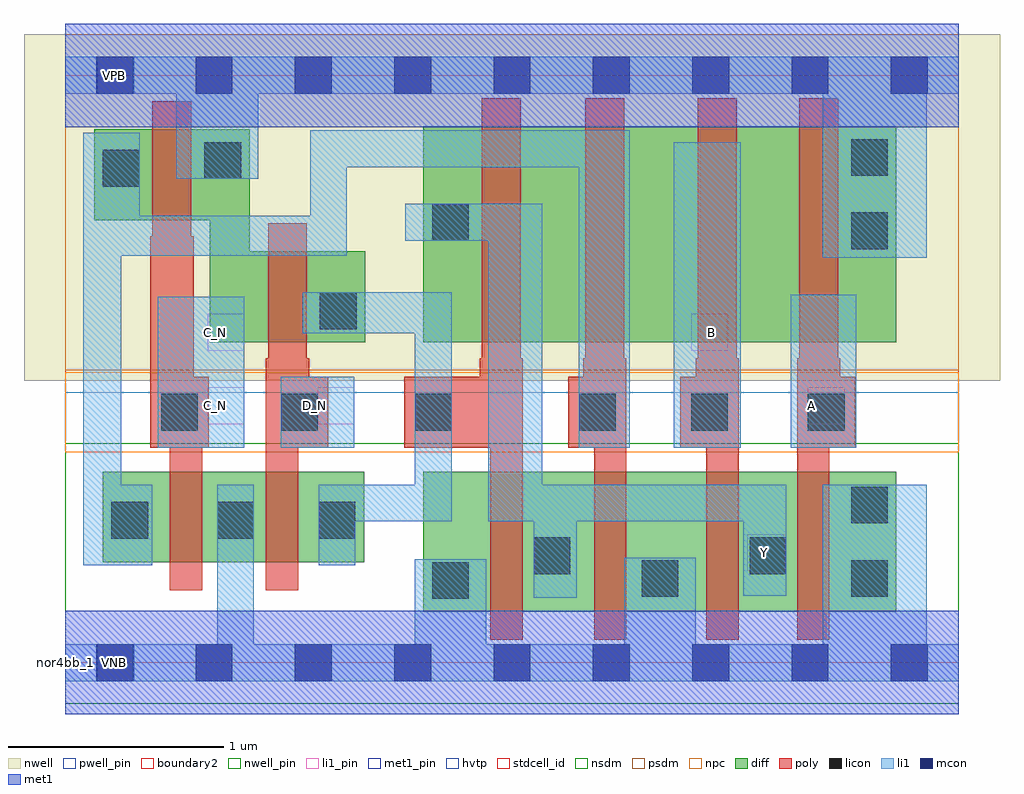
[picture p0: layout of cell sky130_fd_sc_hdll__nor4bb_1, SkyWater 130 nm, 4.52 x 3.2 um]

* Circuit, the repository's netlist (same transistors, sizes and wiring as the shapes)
* Copyright 2020 The SkyWater PDK Authors
*
* Licensed under the Apache License, Version 2.0 (the "License");
* you may not use this file except in compliance with the License.
* You may obtain a copy of the License at
*
*     https://www.apache.org/licenses/LICENSE-2.0
*
* Unless required by applicable law or agreed to in writing, software
* distributed under the License is distributed on an "AS IS" BASIS,
* WITHOUT WARRANTIES OR CONDITIONS OF ANY KIND, either express or implied.
* See the License for the specific language governing permissions and
* limitations under the License.
*
* SPDX-License-Identifier: Apache-2.0

.SUBCKT sky130_fd_sc_hdll__nor4bb_1 A B C_N D_N VGND VNB VPB VPWR Y
*.PININFO A:I B:I C_N:I D_N:I VGND:I VNB:I VPB:I VPWR:I Y:O
MMP0 VPWR A sndPA VPB sky130_fd_pr__pfet_01v8_hvt m=1 w=1.0U l=0.18U mult=1 sa=0.265
+ sb=0.265 sd=0.28 area=0.063 perim=1.14
MMP1 sndPA B sndPB VPB sky130_fd_pr__pfet_01v8_hvt m=1 w=1.0U l=0.18U mult=1 sa=0.265
+ sb=0.265 sd=0.28 area=0.063 perim=1.14
MMP2 sndPB C sndPC VPB sky130_fd_pr__pfet_01v8_hvt m=1 w=1.0U l=0.18U mult=1 sa=0.265
+ sb=0.265 sd=0.28 area=0.063 perim=1.14
MMP3 sndPC D Y VPB sky130_fd_pr__pfet_01v8_hvt m=1 w=1.0U l=0.18U mult=1 sa=0.265
+ sb=0.265 sd=0.28 area=0.063 perim=1.14
MMIP2 C C_N VPWR VPB sky130_fd_pr__pfet_01v8_hvt m=1 w=0.42U l=0.18U mult=1 sa=0.265
+ sb=0.265 sd=0.28 area=0.063 perim=1.14
MMIP3 D D_N VPWR VPB sky130_fd_pr__pfet_01v8_hvt m=1 w=0.42U l=0.18U mult=1 sa=0.265
+ sb=0.265 sd=0.28 area=0.063 perim=1.14
MMN0 Y A VGND VNB sky130_fd_pr__nfet_01v8 m=1 w=0.65U l=0.15U mult=1 sa=0.265 sb=0.265
+ sd=0.28 area=0.063 perim=1.14
MMN1 Y B VGND VNB sky130_fd_pr__nfet_01v8 m=1 w=0.65U l=0.15U mult=1 sa=0.265 sb=0.265
+ sd=0.28 area=0.063 perim=1.14
MMN2 Y C VGND VNB sky130_fd_pr__nfet_01v8 m=1 w=0.65U l=0.15U mult=1 sa=0.265 sb=0.265
+ sd=0.28 area=0.063 perim=1.14
MMN3 Y D VGND VNB sky130_fd_pr__nfet_01v8 m=1 w=0.65U l=0.15U mult=1 sa=0.265 sb=0.265
+ sd=0.28 area=0.063 perim=1.14
MMIN2 C C_N VGND VNB sky130_fd_pr__nfet_01v8 m=1 w=0.42U l=0.15U mult=1 sa=0.265
+ sb=0.265 sd=0.28 area=0.063 perim=1.14
MMIN3 D D_N VGND VNB sky130_fd_pr__nfet_01v8 m=1 w=0.42U l=0.15U mult=1 sa=0.265
+ sb=0.265 sd=0.28 area=0.063 perim=1.14
.ENDS sky130_fd_sc_hdll__nor4bb_1

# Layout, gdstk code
import gdstk
lib = gdstk.Library(unit=1e-6, precision=1e-09)
def R(c, l, rs):  # rectangles x0, y0, x1, y1
    for r in rs: c.add(gdstk.rectangle(r[:2], r[2:], *l))
def A(c, l, x, y, w, h, nx, ny, dx, dy):  # array of equal rectangles
    R(c, l, [(x+i*dx, y+j*dy, x+i*dx+w, y+j*dy+h) for i in range(nx) for j in range(ny)])
def P(c, l, *ps):  # polygons
    for p in ps: c.add(gdstk.Polygon(p, *l))
nwell_pin = (64, 16)
nwell = (64, 20)
diff = (65, 20)
poly = (66, 20)
licon = (66, 44)
li1_pin = (67, 16)
li1 = (67, 20)
mcon = (67, 44)
met1_pin = (68, 16)
met1 = (68, 20)
hvtp = (78, 44)
stdcell_id = (81, 4)
nsdm = (93, 44)
psdm = (94, 20)
npc = (95, 20)
pwell_pin = (122, 16)
boundary2 = (236, 0)

sky130_fd_sc_hdll__nor4b = lib.new_cell('sky130_fd_sc_hdll__nor4bb_1')
R(sky130_fd_sc_hdll__nor4b, nwell_pin, [(0.15,2.635,0.32,2.805)])
R(sky130_fd_sc_hdll__nor4b, nwell, [(-0.19,1.305,4.33,2.91)])
R(sky130_fd_sc_hdll__nor4b, diff, [(1.66,0.235,3.85,0.885), (0.175,0.465,1.385,0.885), (1.66,1.485,3.85,2.485)])
P(sky130_fd_sc_hdll__nor4b, diff, [(1.39,1.905),(0.855,1.905),(0.855,2.47),(0.135,2.47),(0.135,2.05),(0.67,2.05),(0.67,1.485),(1.39,1.485)])
P(sky130_fd_sc_hdll__nor4b, poly, [(0.665,1.325),(0.595,1.325),(0.595,1.975),(0.585,1.975),(0.585,2.6),(0.405,2.6),(0.405,1.975),(0.395,1.975),(0.395,0.995),(0.485,0.995),(0.485,0.335),(0.635,0.335),(0.635,0.995),(0.665,0.995)],
  [(1.22,1.325),(1.13,1.325),(1.13,1.41),(1.12,1.41),(1.12,2.035),(0.94,2.035),(0.94,1.41),(0.93,1.41),(0.93,0.335),(1.08,0.335),(1.08,0.995),(1.22,0.995)],
  [(2.12,1.41),(2.11,1.41),(2.11,2.615),(1.93,2.615),(1.93,1.41),(1.92,1.41),(1.92,1.325),(1.57,1.325),(1.57,0.995),(1.97,0.995),(1.97,0.105),(2.12,0.105)],
  [(2.6,1.41),(2.59,1.41),(2.59,2.615),(2.41,2.615),(2.41,1.41),(2.4,1.41),(2.4,1.325),(2.33,1.325),(2.33,0.995),(2.45,0.995),(2.45,0.105),(2.6,0.105)],
  [(3.12,1.41),(3.11,1.41),(3.11,2.615),(2.93,2.615),(2.93,1.41),(2.92,1.41),(2.92,1.325),(2.85,1.325),(2.85,0.995),(2.97,0.995),(2.97,0.105),(3.12,0.105)],
  [(3.66,1.325),(3.59,1.325),(3.59,1.41),(3.58,1.41),(3.58,2.615),(3.4,2.615),(3.4,1.41),(3.39,1.41),(3.39,0.105),(3.54,0.105),(3.54,0.995),(3.66,0.995)])
R(sky130_fd_sc_hdll__nor4b, licon, [(1.7,0.295,1.87,0.465), (2.67,0.305,2.84,0.475), (3.64,0.305,3.81,0.475), (2.17,0.41,2.34,0.58), (3.17,0.41,3.34,0.58), (0.215,0.575,0.385,0.745), (0.705,0.575,0.875,0.745), (1.175,0.575,1.345,0.745), (3.64,0.645,3.81,0.815), (0.445,1.075,0.615,1.245), (1,1.075,1.17,1.245), (1.62,1.075,1.79,1.245), (2.38,1.075,2.55,1.245), (2.9,1.075,3.07,1.245), (3.44,1.075,3.61,1.245), (1.18,1.545,1.35,1.715), (3.64,1.915,3.81,2.085), (1.7,1.955,1.87,2.125), (0.175,2.205,0.345,2.375), (0.645,2.24,0.815,2.41), (3.64,2.255,3.81,2.425)])
R(sky130_fd_sc_hdll__nor4b, li1_pin, [(3.16,0.425,3.33,0.595), (0.66,1.105,0.83,1.275), (1.17,1.105,1.34,1.275), (3.44,1.105,3.61,1.275), (0.66,1.445,0.83,1.615), (2.9,1.445,3.07,1.615)])
R(sky130_fd_sc_hdll__nor4b, li1, [(0.43,0.995,0.83,1.695), (1,0.995,1.34,1.325), (2.82,0.995,3.13,2.41), (3.36,0.995,3.665,1.705)])
P(sky130_fd_sc_hdll__nor4b, li1, [(4.14,0.085),(3.99,0.085),(3.99,0.825),(3.51,0.825),(3.51,0.085),(2.92,0.085),(2.92,0.485),(2.59,0.485),(2.59,0.085),(1.95,0.085),(1.95,0.48),(1.62,0.48),(1.62,0.085),(0.875,0.085),(0.875,0.825),(0.705,0.825),(0.705,0.085),(0,0.085),(0,-0.085),(4.14,-0.085)],
  [(4.14,2.805),(0,2.805),(0,2.635),(0.515,2.635),(0.515,2.24),(0.895,2.24),(0.895,2.635),(3.51,2.635),(3.51,1.875),(3.99,1.875),(3.99,2.635),(4.14,2.635)],
  [(3.34,0.825),(2.21,0.825),(2.21,2.125),(1.575,2.125),(1.575,1.955),(1.96,1.955),(1.96,0.655),(2.17,0.655),(2.17,0.3),(2.37,0.3),(2.37,0.655),(3.14,0.655),(3.14,0.31),(3.34,0.31)],
  [(1.79,1.715),(1.1,1.715),(1.1,1.525),(1.62,1.525),(1.62,0.825),(1.175,0.825),(1.175,0.45),(1.345,0.45),(1.345,0.655),(1.79,0.655)],
  [(2.615,2.465),(1.135,2.465),(1.135,2.07),(0.345,2.07),(0.345,2.455),(0.085,2.455),(0.085,0.45),(0.405,0.45),(0.405,0.825),(0.26,0.825),(0.26,1.885),(1.305,1.885),(1.305,2.295),(2.38,2.295),(2.38,0.995),(2.615,0.995)])
A(sky130_fd_sc_hdll__nor4b, mcon, 0.145, -0.085, 0.17, 0.17, 9, 2, 0.46, 2.72)
R(sky130_fd_sc_hdll__nor4b, met1_pin, [(0.15,-0.085,0.32,0.085), (0.15,2.635,0.32,2.805)])
R(sky130_fd_sc_hdll__nor4b, met1, [(0,-0.24,4.14,0.24), (0,2.48,4.14,2.96)])
R(sky130_fd_sc_hdll__nor4b, hvtp, [(0,1.25,4.14,2.72)])
R(sky130_fd_sc_hdll__nor4b, stdcell_id, [(0,0,4.14,2.72)])
R(sky130_fd_sc_hdll__nor4b, nsdm, [(0,-0.19,4.14,1.015)])
R(sky130_fd_sc_hdll__nor4b, psdm, [(0,1.355,4.14,2.91)])
R(sky130_fd_sc_hdll__nor4b, npc, [(0,0.975,4.14,1.345)])
R(sky130_fd_sc_hdll__nor4b, pwell_pin, [(0.15,-0.085,0.32,0.085)])
R(sky130_fd_sc_hdll__nor4b, boundary2, [(0,0,4.14,2.72)])
sky130_fd_sc_hdll__nor4b.add(gdstk.Label('A', (3.455,1.19), layer=67, texttype=5))
sky130_fd_sc_hdll__nor4b.add(gdstk.Label('C_N', (0.695,1.53), layer=67, texttype=5))
sky130_fd_sc_hdll__nor4b.add(gdstk.Label('C_N', (0.695,1.19), layer=67, texttype=5))
sky130_fd_sc_hdll__nor4b.add(gdstk.Label('D_N', (1.155,1.19), layer=67, texttype=5))
sky130_fd_sc_hdll__nor4b.add(gdstk.Label('B', (2.995,1.53), layer=67, texttype=5))
sky130_fd_sc_hdll__nor4b.add(gdstk.Label('Y', (3.24,0.51), layer=67, texttype=5))
sky130_fd_sc_hdll__nor4b.add(gdstk.Label('VNB', (0.23,0), layer=64, texttype=59))
sky130_fd_sc_hdll__nor4b.add(gdstk.Label('VPB', (0.23,2.72), layer=64, texttype=5))
sky130_fd_sc_hdll__nor4b.add(gdstk.Label('VGND', (0.23,0), layer=68, texttype=5))
sky130_fd_sc_hdll__nor4b.add(gdstk.Label('VPWR', (0.23,2.72), layer=68, texttype=5))
sky130_fd_sc_hdll__nor4b.add(gdstk.Label('nor4bb_1', (0,0), layer=83, texttype=44))

lib.write_gds('sky130_fd_sc_hdll__nor4bb_1.gds')
